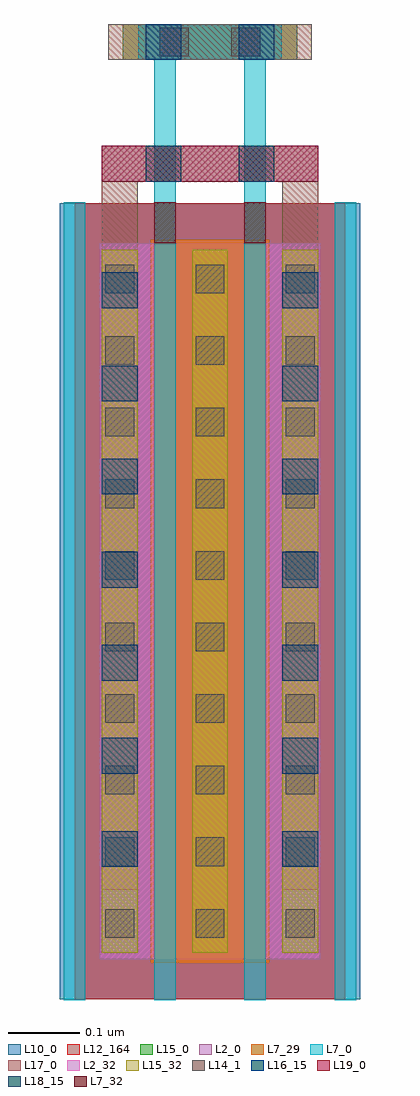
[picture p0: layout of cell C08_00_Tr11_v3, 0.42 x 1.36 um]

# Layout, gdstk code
import gdstk
lib = gdstk.Library(unit=1e-6, precision=1e-09)
def R(c, l, rs):  # rectangles x0, y0, x1, y1
    for r in rs: c.add(gdstk.rectangle(r[:2], r[2:], *l))
def A(c, l, x, y, w, h, nx, ny, dx, dy):  # array of equal rectangles
    R(c, l, [(x+i*dx, y+j*dy, x+i*dx+w, y+j*dy+h) for i in range(nx) for j in range(ny)])
L2_0 = (2, 0)
L2_32 = (2, 32)
L7_0 = (7, 0)
L7_29 = (7, 29)
L7_32 = (7, 32)
L10_0 = (10, 0)
L12_164 = (12, 164)
L14_1 = (14, 1)
L15_0 = (15, 0)
L15_32 = (15, 32)
L16_15 = (16, 15)
L17_0 = (17, 0)
L18_15 = (18, 15)
L19_0 = (19, 0)

c08_00_tr11_v3_srf_pmos_ = lib.new_cell('C08_00_Tr11_v3:SRF_Pmos:SRF_Source_ViaM1M2:SRF_ViaM1M2')
R(c08_00_tr11_v3_srf_pmos_, L15_0, [(0,-0.812,0.05,0.082)])
A(c08_00_tr11_v3_srf_pmos_, L16_15, 0, -0.78, 0.05, 0.05, 1, 7, 0, 0.13)
R(c08_00_tr11_v3_srf_pmos_, L17_0, [(0,-0.812,0.05,0.082)])

c_c08_00_tr11_v3_srf_pmos_ = lib.new_cell('C08_00_Tr11_v3:SRF_Pmos:SRF_Source_ViaM1M2')
c_c08_00_tr11_v3_srf_pmos_.add(gdstk.Reference(c08_00_tr11_v3_srf_pmos_, (-0.025,0.365)))

c_c08_00_tr11_v3_srf_pmos__ = lib.new_cell('C08_00_Tr11_v3:SRF_Pmos:SRF_Gate_ViaM0Mx:SRF_ViaM0M1')
R(c_c08_00_tr11_v3_srf_pmos__, L7_0, [(-0.01,-0.004,0.15,0.044)])
R(c_c08_00_tr11_v3_srf_pmos__, L14_1, [(0,0,0.04,0.04), (0.1,0,0.14,0.04)])
R(c_c08_00_tr11_v3_srf_pmos__, L15_0, [(-0.021,-0.005,0.161,0.045)])

c_c08_00_tr11_v3_srf_pmos___ = lib.new_cell('C08_00_Tr11_v3:SRF_Pmos:SRF_Gate_ViaM0Mx:SRF_ViaM1M2')
R(c_c08_00_tr11_v3_srf_pmos___, L15_0, [(-0.032,0,0.212,0.05)])
R(c_c08_00_tr11_v3_srf_pmos___, L16_15, [(0,0,0.05,0.05), (0.13,0,0.18,0.05)])
R(c_c08_00_tr11_v3_srf_pmos___, L17_0, [(-0.032,0,0.212,0.05)])

c_c08_00_tr11_v3_srf_pmos____ = lib.new_cell('C08_00_Tr11_v3:SRF_Pmos:SRF_Gate_ViaM0Mx')
c_c08_00_tr11_v3_srf_pmos____.add(gdstk.Reference(c_c08_00_tr11_v3_srf_pmos__, (-0.07,-0.02)))
c_c08_00_tr11_v3_srf_pmos____.add(gdstk.Reference(c_c08_00_tr11_v3_srf_pmos___, (-0.09,-0.025)))

c08_00_tr11_v3_srf_pmos = lib.new_cell('C08_00_Tr11_v3:SRF_Pmos')
R(c08_00_tr11_v3_srf_pmos, L2_0, [(-0.076,0.057,0.232,1.057)])
R(c08_00_tr11_v3_srf_pmos, L2_32, [(-0.076,0.057,0,1.057), (0.156,0.057,0.232,1.057)])
A(c08_00_tr11_v3_srf_pmos, L7_0, -0.126, 0, 0.03, 1.114, 4, 1, 0.126, 0)
R(c08_00_tr11_v3_srf_pmos, L7_0, [(0,1.114,0.03,1.314), (0.126,1.114,0.156,1.314), (-0.022,1.314,0.178,1.362)])
R(c08_00_tr11_v3_srf_pmos, L7_29, [(-0.005,0.052,0.161,1.062)])
R(c08_00_tr11_v3_srf_pmos, L7_32, [(0,1.057,0.03,1.114), (0.126,1.057,0.156,1.114)])
R(c08_00_tr11_v3_srf_pmos, L10_0, [(-0.132,0.001,0.288,1.113)])
R(c08_00_tr11_v3_srf_pmos, L12_164, [(-0.111,0.001,0.267,1.113)])
A(c08_00_tr11_v3_srf_pmos, L14_1, -0.068, 0.087, 0.04, 0.04, 3, 10, 0.126, 0.1)
R(c08_00_tr11_v3_srf_pmos, L15_0, [(-0.073,0.066,-0.023,1.048), (-0.073,0.066,-0.023,1.048), (0.053,0.066,0.103,1.048), (0.053,0.066,0.103,1.048), (0.179,0.066,0.229,1.048), (0.179,0.066,0.229,1.048)])
A(c08_00_tr11_v3_srf_pmos, L15_32, -0.073, 0.066, 0.05, 0.982, 3, 1, 0.126, 0)
R(c08_00_tr11_v3_srf_pmos, L17_0, [(-0.073,1.048,-0.023,1.143), (0.179,1.048,0.229,1.143), (-0.073,1.143,0.229,1.193), (-0.064,1.313,0.22,1.363)])
c08_00_tr11_v3_srf_pmos.add(gdstk.Reference(c_c08_00_tr11_v3_srf_pmos_, (-0.048,0.601)))
c08_00_tr11_v3_srf_pmos.add(gdstk.Reference(c_c08_00_tr11_v3_srf_pmos_, (0.204,0.601)))
c08_00_tr11_v3_srf_pmos.add(gdstk.Reference(c_c08_00_tr11_v3_srf_pmos____, (0.078,1.338)))

c08_00_tr11_v3_srf_sourc = lib.new_cell('C08_00_Tr11_v3:SRF_Source_ViaM2M3:SRF_ViaM2M3')
R(c08_00_tr11_v3_srf_sourc, L17_0, [(-0.032,0,0.212,0.05)])
R(c08_00_tr11_v3_srf_sourc, L18_15, [(0,0,0.05,0.05), (0.13,0,0.18,0.05)])
R(c08_00_tr11_v3_srf_sourc, L19_0, [(-0.032,0,0.212,0.05)])

c_c08_00_tr11_v3_srf_sourc = lib.new_cell('C08_00_Tr11_v3:SRF_Source_ViaM2M3')
c_c08_00_tr11_v3_srf_sourc.add(gdstk.Reference(c08_00_tr11_v3_srf_sourc, (-0.09,-0.025)))

c08_00_tr11_v3 = lib.new_cell('C08_00_Tr11_v3')
R(c08_00_tr11_v3, L19_0, [(-0.073,1.143,0.229,1.193)])
c08_00_tr11_v3.add(gdstk.Reference(c08_00_tr11_v3_srf_pmos, (0,0)))
c08_00_tr11_v3.add(gdstk.Reference(c_c08_00_tr11_v3_srf_sourc, (0.078,1.168)))

lib.write_gds('C08_00_Tr11_v3.gds')
